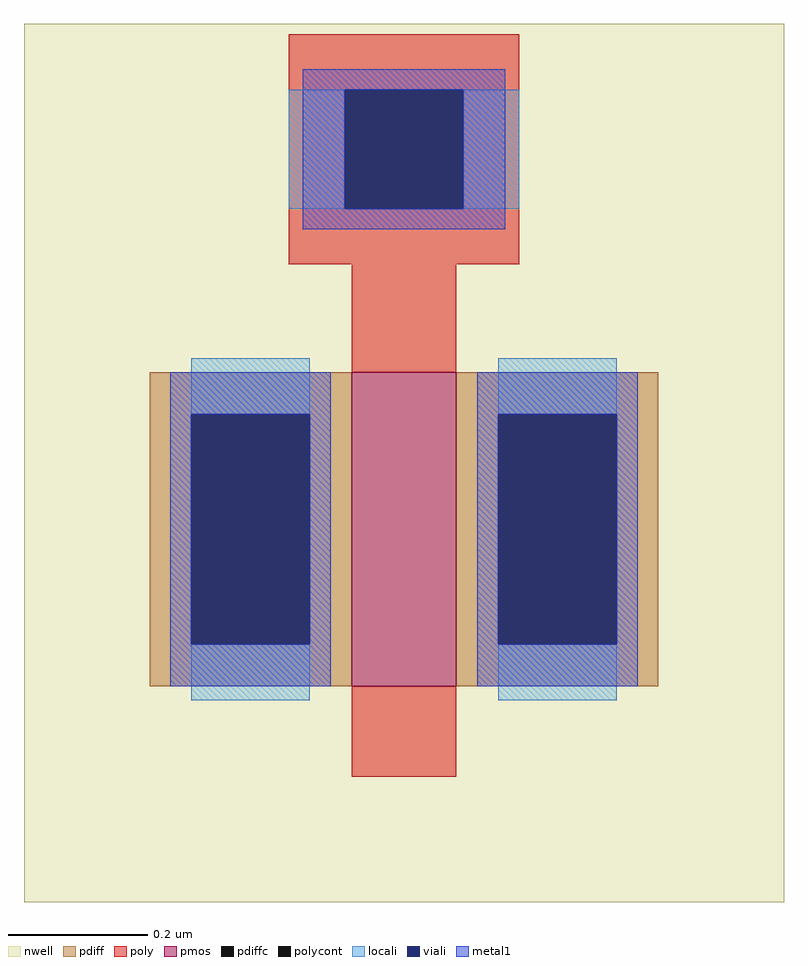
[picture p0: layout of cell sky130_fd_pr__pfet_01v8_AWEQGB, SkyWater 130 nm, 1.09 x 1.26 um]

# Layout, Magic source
magic
tech sky130A
magscale 1 2
<< nwell >>
rect -109 -143 109 109
<< pmos >>
rect -15 -81 15 9
<< pdiff >>
rect -73 -3 -15 9
rect -73 -69 -61 -3
rect -27 -69 -15 -3
rect -73 -81 -15 -69
rect 15 -3 73 9
rect 15 -69 27 -3
rect 61 -69 73 -3
rect 15 -81 73 -69
<< pdiffc >>
rect -61 -69 -27 -3
rect 27 -69 61 -3
<< poly >>
rect -33 90 33 106
rect -33 56 -17 90
rect 17 56 33 90
rect -33 40 33 56
rect -15 9 15 40
rect -15 -107 15 -81
<< polycont >>
rect -17 56 17 90
<< locali >>
rect -33 56 -17 90
rect 17 56 33 90
rect -61 -3 -27 13
rect -61 -85 -27 -69
rect 27 -3 61 13
rect 27 -85 61 -69
<< viali >>
rect -17 56 17 90
rect -61 -69 -27 -3
rect 27 -69 61 -3
<< metal1 >>
rect -29 90 29 96
rect -29 56 -17 90
rect 17 56 29 90
rect -29 50 29 56
rect -67 -3 -21 9
rect -67 -69 -61 -3
rect -27 -69 -21 -3
rect -67 -81 -21 -69
rect 21 -3 67 9
rect 21 -69 27 -3
rect 61 -69 67 -3
rect 21 -81 67 -69
<< properties >>
string gencell sky130_fd_pr__pfet_01v8
string library sky130
string parameters w 0.45 l 0.15 m 1 nf 1 diffcov 100 polycov 100 guard 0 glc 0 grc 0 gtc 0 gbc 0 tbcov 100 rlcov 100 topc 1 botc 0 poverlap 0 doverlap 0 lmin 0.15 wmin 0.42 compatible {sky130_fd_pr__pfet_01v8  sky130_fd_pr__pfet_01v8_lvt sky130_fd_pr__pfet_01v8_hvt  sky130_fd_pr__pfet_g5v0d10v5} full_metal 0 viasrc 100 viadrn 100 viagate 100 viagb 0 viagr 0 viagl 0 viagt 0
<< end >>
